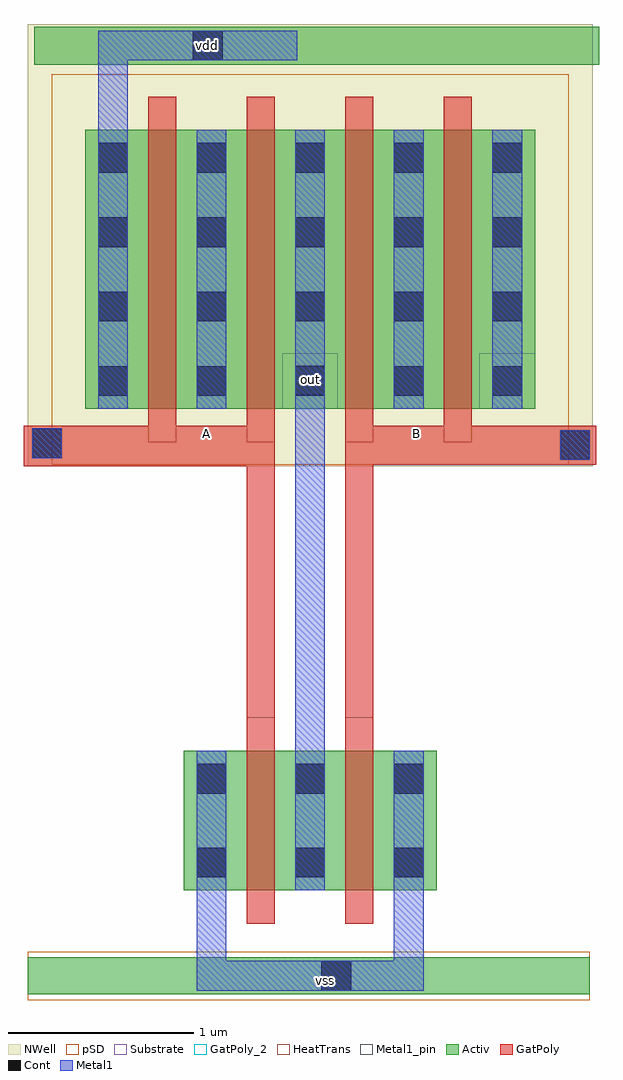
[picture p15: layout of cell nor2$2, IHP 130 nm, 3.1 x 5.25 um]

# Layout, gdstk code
import gdstk
lib = gdstk.Library(unit=1e-6, precision=5e-09)
def R(c, l, rs):  # rectangles x0, y0, x1, y1
    for r in rs: c.add(gdstk.rectangle(r[:2], r[2:], *l))
def A(c, l, x, y, w, h, nx, ny, dx, dy):  # array of equal rectangles
    R(c, l, [(x+i*dx, y+j*dy, x+i*dx+w, y+j*dy+h) for i in range(nx) for j in range(ny)])
Activ = (1, 0)
GatPoly = (5, 0)
GatPoly_2 = (5, 2)
Cont = (6, 0)
Metal1 = (8, 0)
Metal1_pin = (8, 2)
pSD = (14, 0)
NWell = (31, 0)
Substrate = (40, 0)
HeatTrans = (51, 0)

pmos_3 = lib.new_cell('pmos$3')
A(pmos_3, Activ, 0, 0, 0.3, 0.3, 3, 1, 0.53, 0)
R(pmos_3, Activ, [(0,0,1.36,1.5)])
R(pmos_3, GatPoly, [(0.34,-0.18,0.49,1.68), (0.34,-0.18,0.49,1.68), (0.87,-0.18,1.02,1.68)])
A(pmos_3, Cont, 0.07, 0.07, 0.16, 0.16, 3, 4, 0.53, 0.4)
R(pmos_3, Metal1, [(0.07,0,0.23,1.5), (0.07,0,0.23,1.5), (0.6,0,0.76,1.5), (0.6,0,0.76,1.5), (1.13,0,1.29,1.5)])
R(pmos_3, pSD, [(-0.18,-0.3,1.54,1.8)])
R(pmos_3, NWell, [(-0.31,-0.31,1.67,1.81)])
R(pmos_3, Substrate, [(1.06,0,1.36,0.3)])
R(pmos_3, HeatTrans, [(0.34,-0.18,0.49,1.68), (0.87,-0.18,1.02,1.68)])
pmos_3.add(gdstk.Label('pmos', (0.415,0.75), layer=63, texttype=0))
pmos_3.add(gdstk.Label('pmos', (0.415,0.75), layer=51, texttype=0))
pmos_3.add(gdstk.Label('pmos', (0.945,0.75), layer=51, texttype=0))

nmos_2_2 = lib.new_cell('nmos$2$2')
R(nmos_2_2, Activ, [(0,0,0.3,0.3), (0,0,0.83,0.75), (0.53,0,0.83,0.3)])
R(nmos_2_2, GatPoly, [(0.34,-0.18,0.49,0.93)])
R(nmos_2_2, GatPoly_2, [(0.34,-0.18,0.49,0.93)])
R(nmos_2_2, Cont, [(0.07,0.07,0.23,0.23), (0.6,0.07,0.76,0.23), (0.07,0.52,0.23,0.68), (0.6,0.52,0.76,0.68)])
R(nmos_2_2, Metal1, [(0.07,0,0.23,0.75), (0.6,0,0.76,0.75)])
R(nmos_2_2, Metal1_pin, [(0.07,0,0.23,0.75), (0.6,0,0.76,0.75)])
R(nmos_2_2, HeatTrans, [(0.34,-0.18,0.49,0.93)])
nmos_2_2.add(gdstk.Label('nmos', (0.415,0.375), layer=63, texttype=0))
nmos_2_2.add(gdstk.Label('nmos', (0.415,0.375), layer=51, texttype=0))

nor2_2 = lib.new_cell('nor2$2')
R(nor2_2, Activ, [(-2.835,0.395,0.19,0.595), (-2.8,5.395,0.24,5.6)])
R(nor2_2, GatPoly, [(-1.655,1.885,-1.505,3.51), (-1.125,1.885,-0.975,3.51), (-2.855,3.235,-1.655,3.455), (-1.125,3.245,0.225,3.455)])
R(nor2_2, Cont, [(-1.255,0.415,-1.095,0.575), (0.03,3.27,0.19,3.43), (-2.81,3.28,-2.65,3.44), (-1.945,5.42,-1.785,5.58)])
R(nor2_2, Metal1, [(-1.925,0.415,-0.705,0.575), (-1.925,0.415,-1.765,1.185), (-1.255,0.415,-1.095,0.575), (-0.865,0.415,-0.705,1.185), (-1.395,1.47,-1.235,3.77), (0.03,3.27,0.19,3.43), (-2.81,3.28,-2.65,3.44), (-2.455,4.82,-2.295,5.58), (-2.455,5.42,-1.385,5.58), (-1.945,5.42,-1.79,5.58)])
R(nor2_2, Metal1_pin, [(-1.255,0.415,-1.095,0.575), (0.03,3.27,0.19,3.43), (-2.81,3.28,-2.65,3.44), (-1.395,3.62,-1.235,3.78), (-1.94,5.42,-1.785,5.58)])
R(nor2_2, pSD, [(-2.835,0.365,0.19,0.625)])
R(nor2_2, NWell, [(-2.835,5.355,0.205,5.615)])
nor2_2.add(gdstk.Reference(pmos_3, (-1.465,3.545)))
nor2_2.add(gdstk.Reference(pmos_3, (-2.525,3.545)))
nor2_2.add(gdstk.Reference(nmos_2_2, (-1.995,0.955)))
nor2_2.add(gdstk.Reference(nmos_2_2, (-1.465,0.955)))
nor2_2.add(gdstk.Label('vdd', (-1.865,5.5), layer=8, texttype=2))
nor2_2.add(gdstk.Label('out', (-1.315,3.705), layer=8, texttype=2))
nor2_2.add(gdstk.Label('B', (-0.745,3.41), layer=8, texttype=2))
nor2_2.add(gdstk.Label('A', (-1.87,3.41), layer=8, texttype=2))
nor2_2.add(gdstk.Label('vss', (-1.23,0.47), layer=8, texttype=2))

lib.write_gds('nor2_2.gds')
